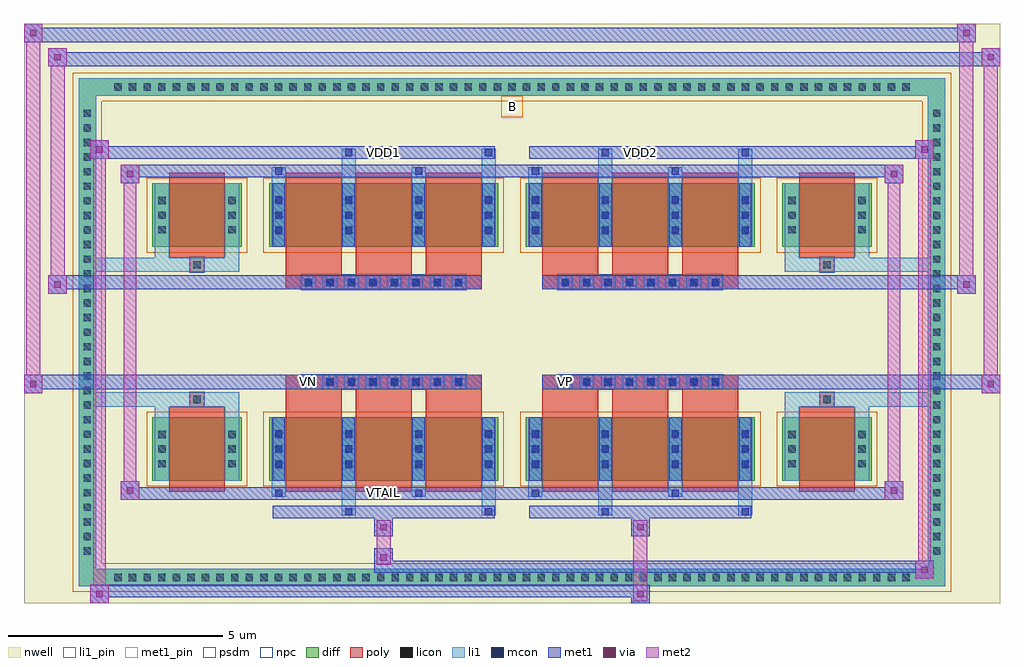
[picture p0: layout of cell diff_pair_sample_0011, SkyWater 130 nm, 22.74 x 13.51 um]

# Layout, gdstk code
import gdstk
lib = gdstk.Library(unit=1e-6, precision=5e-09)
def R(c, l, rs):  # rectangles x0, y0, x1, y1
    for r in rs: c.add(gdstk.rectangle(r[:2], r[2:], *l))
def A(c, l, x, y, w, h, nx, ny, dx, dy):  # array of equal rectangles
    R(c, l, [(x+i*dx, y+j*dy, x+i*dx+w, y+j*dy+h) for i in range(nx) for j in range(ny)])
def P(c, l, *ps):  # polygons
    for p in ps: c.add(gdstk.Polygon(p, *l))
nwell = (64, 20)
diff = (65, 20)
poly = (66, 20)
licon = (66, 44)
li1_pin = (67, 16)
li1 = (67, 20)
mcon = (67, 44)
met1_pin = (68, 16)
met1 = (68, 20)
via = (68, 44)
met2 = (69, 20)
psdm = (94, 20)
npc = (95, 20)

diff_pair_sample_0011 = lib.new_cell('diff_pair_sample_0011')
R(diff_pair_sample_0011, nwell, [(-11.37,-6.32,11.37,7.19), (-8.69,-4.51,-0.01,-0.795), (0.01,-4.51,8.69,-0.795), (-8.69,0.795,-0.01,4.51), (0.01,0.795,8.69,4.51)])
A(diff_pair_sample_0011, diff, -9.385, -5.92, 0.41, 0.41, 55, 2, 0.34, 11.43)
A(diff_pair_sample_0011, diff, -10.1, -5.305, 0.41, 0.41, 1, 31, 0, 0.34)
A(diff_pair_sample_0011, diff, 9.69, -5.305, 0.41, 0.41, 1, 31, 0, 0.34)
R(diff_pair_sample_0011, diff, [(-9.385,-5.92,9.385,-5.51), (-10.1,-5.305,-9.69,5.305), (9.69,-5.305,10.1,5.305), (-8.38,-3.465,-6.3,-1.985), (-5.66,-3.465,-0.32,-1.985), (0.32,-3.465,5.66,-1.985), (6.3,-3.465,8.38,-1.985), (-8.38,1.985,-6.3,3.465), (-5.66,1.985,-0.32,3.465), (0.32,1.985,5.66,3.465), (6.3,1.985,8.38,3.465), (-9.385,5.51,9.385,5.92)])
P(diff_pair_sample_0011, diff, [(10.1,5.92),(-10.1,5.92),(-10.1,-5.51),(-9.69,-5.51),(-9.69,5.51),(9.69,5.51),(9.69,-5.51),(-9.69,-5.51),(-10.1,-5.51),(-10.1,-5.92),(10.1,-5.92)])
A(diff_pair_sample_0011, poly, -5.27, -3.715, 1.3, 1.98, 3, 2, 1.63, 5.45)
A(diff_pair_sample_0011, poly, 0.71, -3.715, 1.3, 1.98, 3, 2, 1.63, 5.45)
A(diff_pair_sample_0011, poly, -5.27, -1.735, 1.3, 0.41, 3, 2, 1.63, 3.06)
A(diff_pair_sample_0011, poly, 0.71, -1.735, 1.3, 0.41, 3, 2, 1.63, 3.06)
A(diff_pair_sample_0011, poly, -4.905, -1.325, 0.33, 0.33, 8, 2, 0.5, 2.32)
A(diff_pair_sample_0011, poly, 1.075, -1.325, 0.33, 0.33, 8, 2, 0.5, 2.32)
R(diff_pair_sample_0011, poly, [(-7.99,-3.715,-6.69,-1.735), (6.69,-3.715,7.99,-1.735), (-7.505,-1.735,-7.175,-1.405), (-7.505,-1.735,-7.175,-1.405), (7.175,-1.735,7.505,-1.405), (7.175,-1.735,7.505,-1.405), (-5.27,-1.325,-0.71,-0.995), (0.71,-1.325,5.27,-0.995), (-5.27,0.995,-0.71,1.325), (0.71,0.995,5.27,1.325), (-7.505,1.405,-7.175,1.735), (-7.505,1.405,-7.175,1.735), (7.175,1.405,7.505,1.735), (7.175,1.405,7.505,1.735), (-7.99,1.735,-6.69,3.715), (6.69,1.735,7.99,3.715)])
A(diff_pair_sample_0011, licon, -9.265, -5.8, 0.17, 0.17, 55, 2, 0.34, 11.43)
A(diff_pair_sample_0011, licon, -9.98, -5.185, 0.17, 0.17, 1, 31, 0, 0.34)
A(diff_pair_sample_0011, licon, 9.81, -5.185, 0.17, 0.17, 1, 31, 0, 0.34)
A(diff_pair_sample_0011, licon, -8.24, -3.15, 0.17, 0.17, 1, 3, 0, 0.34)
A(diff_pair_sample_0011, licon, -6.61, -3.15, 0.17, 0.17, 1, 3, 0, 0.34)
A(diff_pair_sample_0011, licon, -5.52, -3.15, 0.17, 0.17, 4, 3, 1.63, 0.34)
A(diff_pair_sample_0011, licon, 0.46, -3.15, 0.17, 0.17, 4, 3, 1.63, 0.34)
A(diff_pair_sample_0011, licon, 6.44, -3.15, 0.17, 0.17, 1, 3, 0, 0.34)
A(diff_pair_sample_0011, licon, 8.07, -3.15, 0.17, 0.17, 1, 3, 0, 0.34)
A(diff_pair_sample_0011, licon, -4.825, -1.245, 0.17, 0.17, 8, 2, 0.5, 2.32)
A(diff_pair_sample_0011, licon, 1.155, -1.245, 0.17, 0.17, 8, 2, 0.5, 2.32)
A(diff_pair_sample_0011, licon, -8.24, 2.3, 0.17, 0.17, 1, 3, 0, 0.34)
A(diff_pair_sample_0011, licon, -6.61, 2.3, 0.17, 0.17, 1, 3, 0, 0.34)
A(diff_pair_sample_0011, licon, -5.52, 2.3, 0.17, 0.17, 4, 3, 1.63, 0.34)
A(diff_pair_sample_0011, licon, 0.46, 2.3, 0.17, 0.17, 4, 3, 1.63, 0.34)
A(diff_pair_sample_0011, licon, 6.44, 2.3, 0.17, 0.17, 1, 3, 0, 0.34)
A(diff_pair_sample_0011, licon, 8.07, 2.3, 0.17, 0.17, 1, 3, 0, 0.34)
R(diff_pair_sample_0011, licon, [(-7.425,-1.655,-7.255,-1.485), (7.255,-1.655,7.425,-1.485), (-7.425,1.485,-7.255,1.655), (7.255,1.485,7.425,1.655)])
R(diff_pair_sample_0011, li1_pin, [(-0.25,5.01,0.25,5.51)])
A(diff_pair_sample_0011, li1, -9.345, -5.88, 0.33, 0.33, 55, 2, 0.34, 11.43)
A(diff_pair_sample_0011, li1, -10.06, -5.265, 0.33, 0.33, 1, 31, 0, 0.34)
A(diff_pair_sample_0011, li1, 9.73, -5.265, 0.33, 0.33, 1, 31, 0, 0.34)
A(diff_pair_sample_0011, li1, -5.6, -3.465, 0.33, 1.48, 4, 2, 1.63, 5.45)
A(diff_pair_sample_0011, li1, 0.38, -3.465, 0.33, 1.48, 4, 2, 1.63, 5.45)
A(diff_pair_sample_0011, li1, -8.32, -3.23, 0.33, 0.33, 1, 3, 0, 0.34)
A(diff_pair_sample_0011, li1, -6.69, -3.23, 0.33, 0.33, 1, 3, 0, 0.34)
A(diff_pair_sample_0011, li1, -5.6, -3.23, 0.33, 0.33, 4, 3, 1.63, 0.34)
A(diff_pair_sample_0011, li1, 0.38, -3.23, 0.33, 0.33, 4, 3, 1.63, 0.34)
A(diff_pair_sample_0011, li1, 6.36, -3.23, 0.33, 0.33, 1, 3, 0, 0.34)
A(diff_pair_sample_0011, li1, 7.99, -3.23, 0.33, 0.33, 1, 3, 0, 0.34)
A(diff_pair_sample_0011, li1, -5.52, -3.17, 0.17, 0.17, 4, 3, 1.63, 0.36)
A(diff_pair_sample_0011, li1, -5.52, -3.17, 0.17, 0.89, 4, 2, 1.63, 5.45)
A(diff_pair_sample_0011, li1, 0.46, -3.17, 0.17, 0.17, 4, 3, 1.63, 0.36)
A(diff_pair_sample_0011, li1, 0.46, -3.17, 0.17, 0.89, 4, 2, 1.63, 5.45)
A(diff_pair_sample_0011, li1, -4.905, -1.325, 0.33, 0.33, 8, 2, 0.5, 2.32)
A(diff_pair_sample_0011, li1, 1.075, -1.325, 0.33, 0.33, 8, 2, 0.5, 2.32)
A(diff_pair_sample_0011, li1, -8.32, 2.22, 0.33, 0.33, 1, 3, 0, 0.34)
A(diff_pair_sample_0011, li1, -6.69, 2.22, 0.33, 0.33, 1, 3, 0, 0.34)
A(diff_pair_sample_0011, li1, -5.6, 2.22, 0.33, 0.33, 4, 3, 1.63, 0.34)
A(diff_pair_sample_0011, li1, 0.38, 2.22, 0.33, 0.33, 4, 3, 1.63, 0.34)
A(diff_pair_sample_0011, li1, 6.36, 2.22, 0.33, 0.33, 1, 3, 0, 0.34)
A(diff_pair_sample_0011, li1, 7.99, 2.22, 0.33, 0.33, 1, 3, 0, 0.34)
A(diff_pair_sample_0011, li1, -5.52, 2.28, 0.17, 0.17, 4, 3, 1.63, 0.36)
A(diff_pair_sample_0011, li1, 0.46, 2.28, 0.17, 0.17, 4, 3, 1.63, 0.36)
R(diff_pair_sample_0011, li1, [(-10.1,-5.92,-9.69,-5.51), (-10.1,-5.92,-9.69,-5.51), (-9.69,-5.92,9.69,-5.51), (9.69,-5.92,10.1,-5.51), (9.69,-5.92,10.1,-5.51), (-10.1,-5.51,-9.69,5.51), (9.69,-5.51,10.1,5.51), (-3.97,-4.27,-3.64,-3.465), (-3.89,-4.27,-3.72,-4.1), (-0.71,-4.27,-0.38,-3.465), (-0.63,-4.27,-0.46,-4.1), (2.01,-4.27,2.34,-3.465), (2.09,-4.27,2.26,-4.1), (5.27,-4.27,5.6,-3.465), (5.35,-4.27,5.52,-4.1), (-5.6,-3.84,-5.27,-3.465), (-5.52,-3.84,-5.35,-3.67), (-2.34,-3.84,-2.01,-3.465), (-2.26,-3.84,-2.09,-3.67), (0.38,-3.84,0.71,-3.465), (0.46,-3.84,0.63,-3.67), (3.64,-3.84,3.97,-3.465), (3.72,-3.84,3.89,-3.67), (-8.32,-3.465,-7.99,-1.985), (-6.69,-3.465,-6.36,-1.985), (6.36,-3.465,6.69,-1.985), (7.99,-3.465,8.32,-1.985), (-8.32,-1.985,-7.99,-1.405), (-6.69,-1.985,-6.36,-1.405), (6.36,-1.985,6.69,-1.405), (7.99,-1.985,8.32,-1.405), (-10.1,-1.735,-7.505,-1.405), (-8.32,-1.735,-7.505,-1.405), (-7.505,-1.735,-7.175,-1.405), (-7.175,-1.735,-6.36,-1.405), (6.36,-1.735,7.175,-1.405), (7.175,-1.735,7.505,-1.405), (7.175,-1.735,10.1,-1.405), (7.505,-1.735,8.32,-1.405), (-10.1,1.405,-7.505,1.735), (-8.32,1.405,-7.505,1.735), (-8.32,1.405,-7.99,1.985), (-7.505,1.405,-7.175,1.735), (-7.175,1.405,-6.36,1.735), (-6.69,1.405,-6.36,1.985), (6.36,1.405,7.175,1.735), (6.36,1.405,6.69,1.985), (7.175,1.405,7.505,1.735), (7.175,1.405,10.1,1.735), (7.505,1.405,8.32,1.735), (7.99,1.405,8.32,1.985), (-8.32,1.985,-7.99,3.465), (-6.69,1.985,-6.36,3.465), (6.36,1.985,6.69,3.465), (7.99,1.985,8.32,3.465), (-5.6,3.465,-5.27,3.84), (-3.97,3.465,-3.64,4.27), (-2.34,3.465,-2.01,3.84), (-0.71,3.465,-0.38,4.27), (0.38,3.465,0.71,3.84), (2.01,3.465,2.34,4.27), (3.64,3.465,3.97,3.84), (5.27,3.465,5.6,4.27), (-5.52,3.67,-5.35,3.84), (-2.26,3.67,-2.09,3.84), (0.46,3.67,0.63,3.84), (3.72,3.67,3.89,3.84), (-3.89,4.1,-3.72,4.27), (-0.63,4.1,-0.46,4.27), (2.09,4.1,2.26,4.27), (5.35,4.1,5.52,4.27), (-10.1,5.51,-9.69,5.92), (-10.1,5.51,-9.69,5.92), (-9.69,5.51,9.69,5.92), (9.69,5.51,10.1,5.92), (9.69,5.51,10.1,5.92)])
A(diff_pair_sample_0011, mcon, -5.52, -3.17, 0.17, 0.17, 4, 3, 1.63, 0.36)
A(diff_pair_sample_0011, mcon, 0.46, -3.17, 0.17, 0.17, 4, 3, 1.63, 0.36)
A(diff_pair_sample_0011, mcon, -4.825, -1.245, 0.17, 0.17, 8, 2, 0.5, 2.32)
A(diff_pair_sample_0011, mcon, 1.155, -1.245, 0.17, 0.17, 8, 2, 0.5, 2.32)
A(diff_pair_sample_0011, mcon, -5.52, 2.28, 0.17, 0.17, 4, 3, 1.63, 0.36)
A(diff_pair_sample_0011, mcon, 0.46, 2.28, 0.17, 0.17, 4, 3, 1.63, 0.36)
R(diff_pair_sample_0011, mcon, [(-3.89,-4.27,-3.72,-4.1), (-0.63,-4.27,-0.46,-4.1), (2.09,-4.27,2.26,-4.1), (5.35,-4.27,5.52,-4.1), (-5.52,-3.84,-5.35,-3.67), (-2.26,-3.84,-2.09,-3.67), (0.46,-3.84,0.63,-3.67), (3.72,-3.84,3.89,-3.67), (-5.52,3.67,-5.35,3.84), (-2.26,3.67,-2.09,3.84), (0.46,3.67,0.63,3.84), (3.72,3.67,3.89,3.84), (-3.89,4.1,-3.72,4.27), (-0.63,4.1,-0.46,4.27), (2.09,4.1,2.26,4.27), (5.35,4.1,5.52,4.27)])
R(diff_pair_sample_0011, met1_pin, [(-3.125,-3.88,-2.855,-3.61), (-4.875,-1.285,-4.605,-1.015), (1.105,-1.285,1.375,-1.015), (-3.125,4.06,-2.855,4.33), (2.855,4.06,3.125,4.33)])
A(diff_pair_sample_0011, met1, -5.58, -3.465, 0.29, 1.48, 4, 2, 1.63, 5.45)
A(diff_pair_sample_0011, met1, 0.4, -3.465, 0.29, 1.48, 4, 2, 1.63, 5.45)
A(diff_pair_sample_0011, met1, -5.58, -3.23, 0.29, 0.29, 4, 3, 1.63, 0.36)
A(diff_pair_sample_0011, met1, 0.4, -3.23, 0.29, 0.29, 4, 3, 1.63, 0.36)
A(diff_pair_sample_0011, met1, -4.885, -1.305, 0.29, 0.29, 8, 2, 0.5, 2.32)
A(diff_pair_sample_0011, met1, 1.095, -1.305, 0.29, 0.29, 8, 2, 0.5, 2.32)
A(diff_pair_sample_0011, met1, -5.58, 2.22, 0.29, 0.29, 4, 3, 1.63, 0.36)
A(diff_pair_sample_0011, met1, 0.4, 2.22, 0.29, 0.29, 4, 3, 1.63, 0.36)
R(diff_pair_sample_0011, met1, [(-9.83,-6.32,-9.4,-5.89), (2.775,-6.32,3.205,-5.89), (-9.83,-6.18,3.205,-5.89), (9.4,-5.75,9.83,-5.32), (-3.205,-5.61,9.83,-5.32), (-3.205,-5.47,-2.775,-5.04), (-3.205,-4.76,-2.775,-4.33), (2.775,-4.76,3.205,-4.33), (-5.58,-4.33,-0.4,-4.04), (-3.95,-4.33,-3.66,-4.04), (-0.69,-4.33,-0.4,-4.04), (0.4,-4.33,5.58,-4.04), (2.03,-4.33,2.32,-4.04), (5.29,-4.33,5.58,-4.04), (-9.12,-3.9,-8.69,-3.47), (-9.12,-3.9,-5.58,-3.61), (-5.58,-3.9,-5.29,-3.61), (-5.58,-3.9,-0.4,-3.61), (-2.32,-3.9,-2.03,-3.61), (-0.4,-3.9,0.4,-3.61), (0.4,-3.9,0.69,-3.61), (0.4,-3.9,5.58,-3.61), (3.66,-3.9,3.95,-3.61), (5.58,-3.9,9.12,-3.61), (8.69,-3.9,9.12,-3.47), (-11.37,-1.425,-10.94,-0.995), (10.94,-1.425,11.37,-0.995), (-11.37,-1.325,-0.71,-0.995), (-5.27,-1.325,-0.71,-0.995), (0.71,-1.325,5.27,-0.995), (0.71,-1.325,11.37,-0.995), (-10.8,0.895,-10.37,1.325), (10.37,0.895,10.8,1.325), (-10.8,0.995,-5.27,1.325), (-5.27,0.995,-0.71,1.325), (0.71,0.995,5.27,1.325), (5.27,0.995,10.8,1.325), (-9.12,3.47,-8.69,3.9), (8.69,3.47,9.12,3.9), (-9.12,3.61,-5.58,3.9), (-5.58,3.61,-5.29,3.9), (-5.58,3.61,-0.4,3.9), (-2.32,3.61,-2.03,3.9), (-0.4,3.61,0.4,3.9), (0.4,3.61,0.69,3.9), (0.4,3.61,5.58,3.9), (3.66,3.61,3.95,3.9), (5.58,3.61,9.12,3.9), (-9.83,4.04,-9.4,4.47), (-9.83,4.04,-5.58,4.33), (-5.58,4.04,-0.4,4.33), (-3.95,4.04,-3.66,4.33), (-0.69,4.04,-0.4,4.33), (0.4,4.04,5.58,4.33), (2.03,4.04,2.32,4.33), (5.29,4.04,5.58,4.33), (5.58,4.04,9.83,4.33), (9.4,4.04,9.83,4.47), (-10.8,6.19,-10.37,6.62), (-10.8,6.19,-8.69,6.52), (-8.69,6.19,8.69,6.52), (8.69,6.19,11.37,6.52), (10.94,6.19,11.37,6.62), (-11.37,6.76,-10.94,7.19), (-11.37,6.76,-8.69,7.09), (-8.69,6.76,8.69,7.09), (8.69,6.76,10.8,7.09), (10.37,6.76,10.8,7.19)])
R(diff_pair_sample_0011, via, [(-9.69,-6.18,-9.54,-6.03), (2.915,-6.18,3.065,-6.03), (9.54,-5.61,9.69,-5.46), (-3.065,-5.33,-2.915,-5.18), (-3.065,-4.62,-2.915,-4.47), (2.915,-4.62,3.065,-4.47), (-8.98,-3.76,-8.83,-3.61), (8.83,-3.76,8.98,-3.61), (-11.23,-1.285,-11.08,-1.135), (11.08,-1.285,11.23,-1.135), (-10.66,1.035,-10.51,1.185), (10.51,1.035,10.66,1.185), (-8.98,3.61,-8.83,3.76), (8.83,3.61,8.98,3.76), (-9.69,4.18,-9.54,4.33), (9.54,4.18,9.69,4.33), (-10.66,6.33,-10.51,6.48), (11.08,6.33,11.23,6.48), (-11.23,6.9,-11.08,7.05), (10.51,6.9,10.66,7.05)])
R(diff_pair_sample_0011, met2, [(-9.83,-6.32,-9.4,-5.89), (-9.76,-6.32,-9.47,4.47), (-9.47,-6.32,-9.4,-5.89), (-9.78,-6.27,-9.45,-5.94), (2.825,-6.27,3.155,-5.94), (2.825,-5.94,3.155,-4.71), (9.4,-5.75,9.83,-5.32), (9.47,-5.75,9.76,4.47), (9.76,-5.75,9.83,-5.32), (9.45,-5.7,9.78,-5.37), (-3.155,-5.42,-2.825,-5.09), (-3.155,-5.09,-2.825,-4.71), (-3.155,-4.71,-2.825,-4.38), (2.825,-4.71,3.155,-4.38), (-9.12,-3.9,-8.69,-3.47), (-9.05,-3.9,-8.76,3.9), (-8.76,-3.9,-8.69,-3.47), (8.69,-3.9,9.12,-3.47), (8.76,-3.9,9.05,3.9), (9.05,-3.9,9.12,-3.47), (-9.07,-3.85,-8.74,-3.52), (8.74,-3.85,9.07,-3.52), (-11.37,-1.425,-10.94,-0.995), (-11.32,-1.425,-10.99,7.19), (-10.99,-1.425,-10.94,-0.995), (10.94,-1.425,11.37,-0.995), (10.99,-1.425,11.32,6.62), (11.32,-1.425,11.37,-0.995), (-11.32,-1.375,-10.99,-1.045), (10.99,-1.375,11.32,-1.045), (-10.8,0.895,-10.37,1.325), (-10.75,0.895,-10.42,6.62), (-10.42,0.895,-10.37,1.325), (10.37,0.895,10.8,1.325), (10.42,0.895,10.75,7.19), (10.75,0.895,10.8,1.325), (-10.75,0.945,-10.42,1.275), (10.42,0.945,10.75,1.275), (-9.12,3.47,-8.69,3.9), (-8.76,3.47,-8.69,3.9), (8.69,3.47,9.12,3.9), (9.05,3.47,9.12,3.9), (-9.07,3.52,-8.74,3.85), (8.74,3.52,9.07,3.85), (-9.83,4.04,-9.4,4.47), (-9.47,4.04,-9.4,4.47), (9.4,4.04,9.83,4.47), (9.76,4.04,9.83,4.47), (-9.78,4.09,-9.45,4.42), (9.45,4.09,9.78,4.42), (-10.8,6.19,-10.37,6.62), (-10.42,6.19,-10.37,6.62), (10.94,6.19,11.37,6.62), (11.32,6.19,11.37,6.62), (-10.75,6.24,-10.42,6.57), (10.99,6.24,11.32,6.57), (-11.37,6.76,-10.94,7.19), (-10.99,6.76,-10.94,7.19), (10.37,6.76,10.8,7.19), (10.75,6.76,10.8,7.19), (-11.32,6.81,-10.99,7.14), (10.42,6.81,10.75,7.14)])
R(diff_pair_sample_0011, psdm, [(-8.51,-3.595,-6.17,-1.855), (-5.79,-3.595,-0.19,-1.855), (0.19,-3.595,5.79,-1.855), (6.17,-3.595,8.51,-1.855), (-8.51,1.855,-6.17,3.595), (-5.79,1.855,-0.19,3.595), (0.19,1.855,5.79,3.595), (6.17,1.855,8.51,3.595)])
P(diff_pair_sample_0011, psdm, [(10.23,6.05),(-10.23,6.05),(-10.23,-5.38),(-9.56,-5.38),(-9.56,5.38),(9.56,5.38),(9.56,-5.38),(-9.56,-5.38),(-10.23,-5.38),(-10.23,-6.05),(10.23,-6.05)])
A(diff_pair_sample_0011, npc, -4.925, -1.345, 0.37, 0.37, 8, 2, 0.5, 2.32)
A(diff_pair_sample_0011, npc, 1.055, -1.345, 0.37, 0.37, 8, 2, 0.5, 2.32)
R(diff_pair_sample_0011, npc, [(-7.525,-1.755,-7.155,-1.385), (7.155,-1.755,7.525,-1.385), (-4.925,-1.345,-4.055,-0.975), (-4.925,-1.345,-4.055,-0.975), (-4.425,-1.345,-3.555,-0.975), (-4.425,-1.345,-3.555,-0.975), (-3.925,-1.345,-3.055,-0.975), (-3.925,-1.345,-3.055,-0.975), (-3.425,-1.345,-2.555,-0.975), (-3.425,-1.345,-2.555,-0.975), (-2.925,-1.345,-2.055,-0.975), (-2.925,-1.345,-2.055,-0.975), (-2.425,-1.345,-1.555,-0.975), (-2.425,-1.345,-1.555,-0.975), (-1.925,-1.345,-1.055,-0.975), (-1.925,-1.345,-1.055,-0.975), (1.055,-1.345,1.925,-0.975), (1.055,-1.345,1.925,-0.975), (1.555,-1.345,2.425,-0.975), (1.555,-1.345,2.425,-0.975), (2.055,-1.345,2.925,-0.975), (2.055,-1.345,2.925,-0.975), (2.555,-1.345,3.425,-0.975), (2.555,-1.345,3.425,-0.975), (3.055,-1.345,3.925,-0.975), (3.055,-1.345,3.925,-0.975), (3.555,-1.345,4.425,-0.975), (3.555,-1.345,4.425,-0.975), (4.055,-1.345,4.925,-0.975), (4.055,-1.345,4.925,-0.975), (-4.925,0.975,-4.055,1.345), (-4.925,0.975,-4.055,1.345), (-4.425,0.975,-3.555,1.345), (-4.425,0.975,-3.555,1.345), (-3.925,0.975,-3.055,1.345), (-3.925,0.975,-3.055,1.345), (-3.425,0.975,-2.555,1.345), (-3.425,0.975,-2.555,1.345), (-2.925,0.975,-2.055,1.345), (-2.925,0.975,-2.055,1.345), (-2.425,0.975,-1.555,1.345), (-2.425,0.975,-1.555,1.345), (-1.925,0.975,-1.055,1.345), (-1.925,0.975,-1.055,1.345), (1.055,0.975,1.925,1.345), (1.055,0.975,1.925,1.345), (1.555,0.975,2.425,1.345), (1.555,0.975,2.425,1.345), (2.055,0.975,2.925,1.345), (2.055,0.975,2.925,1.345), (2.555,0.975,3.425,1.345), (2.555,0.975,3.425,1.345), (3.055,0.975,3.925,1.345), (3.055,0.975,3.925,1.345), (3.555,0.975,4.425,1.345), (3.555,0.975,4.425,1.345), (4.055,0.975,4.925,1.345), (4.055,0.975,4.925,1.345), (-7.525,1.385,-7.155,1.755), (7.155,1.385,7.525,1.755)])
diff_pair_sample_0011.add(gdstk.Label('VTAIL', (-2.99,-3.745), layer=68, texttype=5))
diff_pair_sample_0011.add(gdstk.Label('VN', (-4.74,-1.15), layer=68, texttype=5))
diff_pair_sample_0011.add(gdstk.Label('VP', (1.24,-1.15), layer=68, texttype=5))
diff_pair_sample_0011.add(gdstk.Label('B', (0,5.26), layer=67, texttype=5))
diff_pair_sample_0011.add(gdstk.Label('VDD2', (2.99,4.195), layer=68, texttype=5))
diff_pair_sample_0011.add(gdstk.Label('VDD1', (-2.99,4.195), layer=68, texttype=5))

lib.write_gds('diff_pair_sample_0011.gds')
